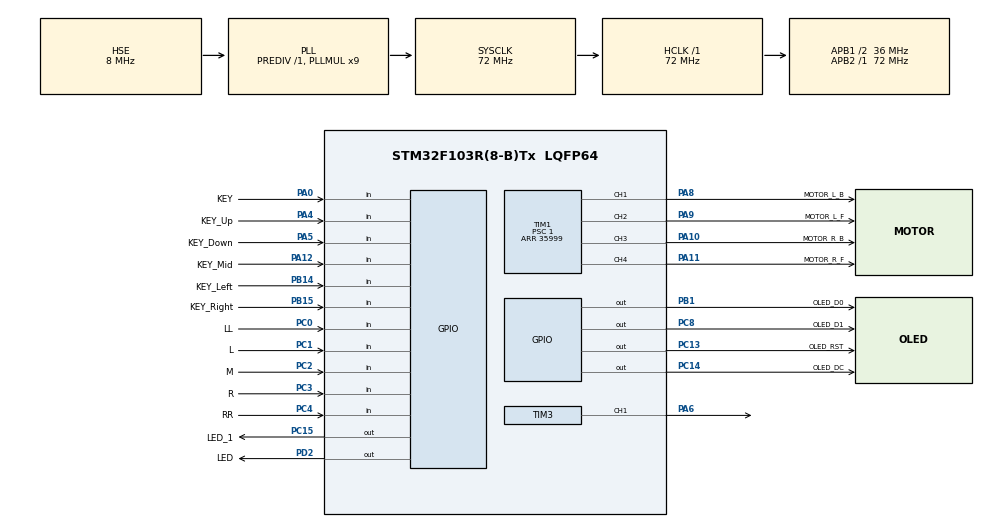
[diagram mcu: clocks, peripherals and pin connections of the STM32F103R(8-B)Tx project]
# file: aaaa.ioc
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Mcu.Family=STM32F1
Mcu.Name=STM32F103R(8-B)Tx
Mcu.Package=LQFP64
NVIC.PriorityGroup=NVIC_PRIORITYGROUP_4
PA0-WKUP.GPIO_Label=KEY
PA0-WKUP.GPIO_PuPd=GPIO_PULLUP
PA0-WKUP.Signal=GPIO_Input
PA10.GPIO_Label=MOTOR_R_B
PA10.Signal=S_TIM1_CH3
PA11.GPIO_Label=MOTOR_R_F
PA11.Signal=S_TIM1_CH4
PA12.GPIO_Label=KEY_Mid
PA12.GPIO_PuPd=GPIO_PULLUP
PA12.Signal=GPIO_Input
PA4.GPIO_Label=KEY_Up
PA4.GPIO_PuPd=GPIO_PULLUP
PA4.Signal=GPIO_Input
PA5.GPIO_Label=KEY_Down
PA5.GPIO_PuPd=GPIO_PULLUP
PA5.Signal=GPIO_Input
PA6.Signal=S_TIM3_CH1
PA8.GPIO_Label=MOTOR_L_B
PA8.Signal=S_TIM1_CH1
PA9.GPIO_Label=MOTOR_L_F
PA9.Signal=S_TIM1_CH2
PB1.GPIO_Label=OLED_D0
PB1.GPIO_Speed=GPIO_SPEED_FREQ_HIGH
PB1.PinState=GPIO_PIN_SET
PB1.Signal=GPIO_Output
PB14.GPIO_Label=KEY_Left
PB14.GPIO_PuPd=GPIO_PULLUP
PB14.Signal=GPIO_Input
PB15.GPIO_Label=KEY_Right
PB15.GPIO_PuPd=GPIO_PULLUP
PB15.Signal=GPIO_Input
PC0.GPIO_Label=LL
PC0.Signal=GPIO_Input
PC1.GPIO_Label=L
PC1.Signal=GPIO_Input
PC13-TAMPER-RTC.GPIO_Label=OLED_RST
PC13-TAMPER-RTC.GPIO_Speed=GPIO_SPEED_FREQ_HIGH
PC13-TAMPER-RTC.PinState=GPIO_PIN_SET
PC13-TAMPER-RTC.Signal=GPIO_Output
PC14-OSC32_IN.GPIO_Label=OLED_DC
PC14-OSC32_IN.GPIO_ModeDefaultOutputPP=GPIO_MODE_OUTPUT_PP
PC14-OSC32_IN.GPIO_Speed=GPIO_SPEED_FREQ_HIGH
PC14-OSC32_IN.PinState=GPIO_PIN_SET
PC14-OSC32_IN.Signal=GPIO_Output
PC15-OSC32_OUT.GPIO_Label=LED_1
PC15-OSC32_OUT.GPIO_Speed=GPIO_SPEED_FREQ_HIGH
PC15-OSC32_OUT.PinState=GPIO_PIN_SET
PC15-OSC32_OUT.Signal=GPIO_Output
PC2.GPIO_Label=M
PC2.Signal=GPIO_Input
PC3.GPIO_Label=R
PC3.Signal=GPIO_Input
PC4.GPIO_Label=RR
PC4.Signal=GPIO_Input
PC8.GPIO_Label=OLED_D1
PC8.GPIO_Speed=GPIO_SPEED_FREQ_HIGH
PC8.PinState=GPIO_PIN_SET
PC8.Signal=GPIO_Output
PD0-OSC_IN.Mode=HSE-External-Oscillator
PD0-OSC_IN.Signal=RCC_OSC_IN
PD1-OSC_OUT.Mode=HSE-External-Oscillator
PD1-OSC_OUT.Signal=RCC_OSC_OUT
PD2.GPIO_Label=LED
PD2.GPIO_Speed=GPIO_SPEED_FREQ_HIGH
PD2.PinState=GPIO_PIN_SET
PD2.Signal=GPIO_Output
ProjectManager.HeapSize=0x200
ProjectManager.StackSize=0x400
ProjectManager.TargetToolchain=MDK-ARM V5
RCC.AHBFreq_Value=72000000
RCC.APB1CLKDivider=RCC_HCLK_DIV2
RCC.APB1Freq_Value=36000000
RCC.APB1TimFreq_Value=72000000
RCC.APB2Freq_Value=72000000
RCC.APB2TimFreq_Value=72000000
RCC.HCLKFreq_Value=72000000
RCC.PLLMUL=RCC_PLL_MUL9
RCC.PLLSourceVirtual=RCC_PLLSOURCE_HSE
RCC.SYSCLKFreq_VALUE=72000000
RCC.SYSCLKSource=RCC_SYSCLKSOURCE_PLLCLK
RCC.USBFreq_Value=72000000
SH.S_TIM1_CH1.0=TIM1_CH1,PWM Generation1 CH1
SH.S_TIM1_CH2.0=TIM1_CH2,PWM Generation2 CH2
SH.S_TIM1_CH3.0=TIM1_CH3,PWM Generation3 CH3
SH.S_TIM1_CH4.0=TIM1_CH4,PWM Generation4 CH4
SH.S_TIM3_CH1.0=TIM3_CH1,PWM Generation1 CH1
TIM1.Channel-PWM\ Generation1\ CH1=TIM_CHANNEL_1
TIM1.Channel-PWM\ Generation2\ CH2=TIM_CHANNEL_2
TIM1.Channel-PWM\ Generation3\ CH3=TIM_CHANNEL_3
TIM1.Channel-PWM\ Generation4\ CH4=TIM_CHANNEL_4
TIM1.Period=35999
TIM1.Prescaler=1
TIM1.Pulse-PWM\ Generation1\ CH1=0
TIM1.Pulse-PWM\ Generation2\ CH2=0
TIM1.Pulse-PWM\ Generation3\ CH3=0
TIM1.Pulse-PWM\ Generation4\ CH4=0
TIM3.Channel-PWM\ Generation1\ CH1=TIM_CHANNEL_1
TIM3.Period=9999
TIM3.Prescaler=143
TIM3.Pulse-PWM\ Generation1\ CH1=750
VP_SYS_VS_ND.Mode=No_Debug
VP_TIM1_VS_ClockSourceINT.Mode=Internal
VP_TIM3_VS_ClockSourceINT.Mode=Internal
board=aaaa

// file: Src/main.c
/**
  ******************************************************************************
  * File Name          : main.c
  * Description        : Main program body
  ******************************************************************************
  ** This notice applies to any and all portions of this file
  * that are not between comment pairs USER CODE BEGIN and
  * USER CODE END. Other portions of this file, whether
  * inserted by the user or by software development tools
  * are owned by their respective copyright owners.
  *
  * COPYRIGHT(c) 2017 STMicroelectronics
  *
  * Redistribution and use in source and binary forms, with or without modification,
  * are permitted provided that the following conditions are met:
  *   1. Redistributions of source code must retain the above copyright notice,
  *      this list of conditions and the following disclaimer.
  *   2. Redistributions in binary form must reproduce the above copyright notice,
  *      this list of conditions and the following disclaimer in the documentation
  *      and/or other materials provided with the distribution.
  *   3. Neither the name of STMicroelectronics nor the names of its contributors
  *      may be used to endorse or promote products derived from this software
  *      without specific prior written permission.
  *
  * THIS SOFTWARE IS PROVIDED BY THE COPYRIGHT HOLDERS AND CONTRIBUTORS "AS IS"
  * AND ANY EXPRESS OR IMPLIED WARRANTIES, INCLUDING, BUT NOT LIMITED TO, THE
  * IMPLIED WARRANTIES OF MERCHANTABILITY AND FITNESS FOR A PARTICULAR PURPOSE ARE
  * DISCLAIMED. IN NO EVENT SHALL THE COPYRIGHT HOLDER OR CONTRIBUTORS BE LIABLE
  * FOR ANY DIRECT, INDIRECT, INCIDENTAL, SPECIAL, EXEMPLARY, OR CONSEQUENTIAL
  * DAMAGES (INCLUDING, BUT NOT LIMITED TO, PROCUREMENT OF SUBSTITUTE GOODS OR
  * SERVICES; LOSS OF USE, DATA, OR PROFITS; OR BUSINESS INTERRUPTION) HOWEVER
  * CAUSED AND ON ANY THEORY OF LIABILITY, WHETHER IN CONTRACT, STRICT LIABILITY,
  * OR TORT (INCLUDING NEGLIGENCE OR OTHERWISE) ARISING IN ANY WAY OUT OF THE USE
  * OF THIS SOFTWARE, EVEN IF ADVISED OF THE POSSIBILITY OF SUCH DAMAGE.
  *
  ******************************************************************************
  */
#include "main.h"
#include "stm32f1xx_hal.h"
#include "tim.h"
#include "gpio.h"

/* USER CODE BEGIN Includes */
#include "oled.h"
/* USER CODE END Includes */

/* USER CODE BEGIN PV */
/* Private variables ---------------------------------------------------------*/

/* USER CODE END PV */

void SystemClock_Config(void);

/* USER CODE BEGIN PFP */
/* Private function prototypes -----------------------------------------------*/

/* USER CODE END PFP */

/* USER CODE BEGIN 0 */
/*==========全局变量==========*/
uint32_t PWM_MOTOR_L = 2000;
uint32_t PWM_MOTOR_R = 2000;
int32_t PWM_Duoji = 750;
/* USER CODE END 0 */

int main(void)
{

  /* MCU Configuration----------------------------------------------------------*/

  /* Reset of all peripherals, Initializes the Flash interface and the Systick. */
  HAL_Init();

  /* Configure the system clock */
  SystemClock_Config();

  /* Initialize all configured peripherals */
  MX_GPIO_Init();
  MX_TIM1_Init();
  MX_TIM3_Init();

  /* USER CODE BEGIN 2 */

	/*==========初始化==========*/
	OLED_Init();

	/*===========变量===========*/
	uint8_t GO = 0;

	/*=========循环前函数=========*/
	HAL_TIM_Base_Start_IT(&htim1);
	HAL_TIM_Base_Start_IT(&htim3);

	HAL_TIM_PWM_Start(&htim1, TIM_CHANNEL_1);
	HAL_TIM_PWM_Start(&htim1, TIM_CHANNEL_2);
	HAL_TIM_PWM_Start(&htim1, TIM_CHANNEL_3);
	HAL_TIM_PWM_Start(&htim1, TIM_CHANNEL_4);
	HAL_TIM_PWM_Start(&htim3, TIM_CHANNEL_1);
  /* USER CODE END 2 */

  /* Infinite loop */
  while (1)
  {

  /* USER CODE BEGIN 3 */

		switch (GO)
		{
			case  0:	GO = Main_UI_Con();		break;//主菜单
			case  1:	GO = Fun1_UI_Con();		break;
			case  2:	GO = Fun2_UI_Con();		break;
			case  3:	GO = Fun3_UI_Con();		break;
//			case  4:	GO = Fun4_UI_Con();		break;

			default: 	GO = Main_UI_Con();		break;
		}
//		 HAL_GPIO_WritePin(GPIOA, MOTOR_A_1_Pin|MOTOR_B_1_Pin, GPIO_PIN_RESET);
//		 HAL_GPIO_WritePin(GPIOA, MOTOR_A_2_Pin|MOTOR_B_2_Pin, GPIO_PIN_SET);
  }
  /* USER CODE END 3 */

}

/** System Clock Configuration
*/
void SystemClock_Config(void)
{

  RCC_OscInitTypeDef RCC_OscInitStruct;
  RCC_ClkInitTypeDef RCC_ClkInitStruct;

    /**Initializes the CPU, AHB and APB busses clocks
    */
  RCC_OscInitStruct.OscillatorType = RCC_OSCILLATORTYPE_HSE;
  RCC_OscInitStruct.HSEState = RCC_HSE_ON;
  RCC_OscInitStruct.HSEPredivValue = RCC_HSE_PREDIV_DIV1;
  RCC_OscInitStruct.HSIState = RCC_HSI_ON;
  RCC_OscInitStruct.PLL.PLLState = RCC_PLL_ON;
  RCC_OscInitStruct.PLL.PLLSource = RCC_PLLSOURCE_HSE;
  RCC_OscInitStruct.PLL.PLLMUL = RCC_PLL_MUL9;
  if (HAL_RCC_OscConfig(&RCC_OscInitStruct) != HAL_OK)
  {
    _Error_Handler(__FILE__, __LINE__);
  }

    /**Initializes the CPU, AHB and APB busses clocks
    */
  RCC_ClkInitStruct.ClockType = RCC_CLOCKTYPE_HCLK|RCC_CLOCKTYPE_SYSCLK
                              |RCC_CLOCKTYPE_PCLK1|RCC_CLOCKTYPE_PCLK2;
  RCC_ClkInitStruct.SYSCLKSource = RCC_SYSCLKSOURCE_PLLCLK;
  RCC_ClkInitStruct.AHBCLKDivider = RCC_SYSCLK_DIV1;
  RCC_ClkInitStruct.APB1CLKDivider = RCC_HCLK_DIV2;
  RCC_ClkInitStruct.APB2CLKDivider = RCC_HCLK_DIV1;

  if (HAL_RCC_ClockConfig(&RCC_ClkInitStruct, FLASH_LATENCY_2) != HAL_OK)
  {
    _Error_Handler(__FILE__, __LINE__);
  }

    /**Configure the Systick interrupt time
    */
  HAL_SYSTICK_Config(HAL_RCC_GetHCLKFreq()/1000);

    /**Configure the Systick
    */
  HAL_SYSTICK_CLKSourceConfig(SYSTICK_CLKSOURCE_HCLK);

  /* SysTick_IRQn interrupt configuration */
  HAL_NVIC_SetPriority(SysTick_IRQn, 0, 0);
}

void _Error_Handler(char * file, int line)
{
  while(1)
  {
  }
}

/************************ (C) COPYRIGHT STMicroelectronics *****END OF FILE****/
